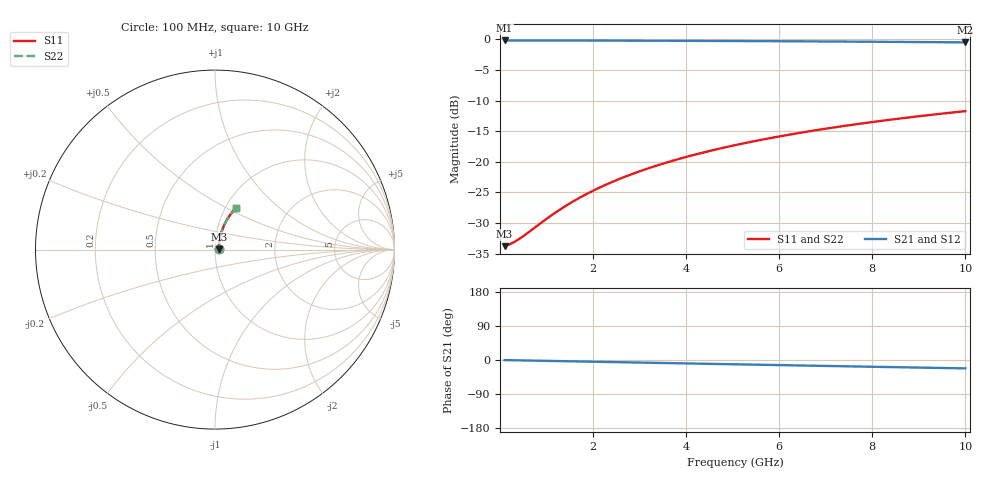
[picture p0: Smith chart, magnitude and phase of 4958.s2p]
# Hz S RI R 50.00
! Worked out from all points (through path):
!   100 points, 100 MHz to 10 GHz, reference 50 ohm
!   highest |S21| = -0.18 dB at 100 MHz (marker M1); lowest = -0.5 dB at 10 GHz (marker M2)
!   group delay of S21, straight-line fit = 6.16 ps
!   lowest |S11| = -33.8 dB at 100 MHz (marker M3), VSWR 1.04, Z = 52.1 + j0.274 ohm
!   |S11| at or under -10 dB: start of sweep to end of sweep
!   |S22| runs from -33.8 to -11.7 dB; largest |S21 - S12| = 0
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1e8  0.0203 0.00263  0.9797 -0.00387  0.9797 -0.00387  0.0203 0.00263
2e8  0.0205 0.00526  0.9795 -0.00773  0.9795 -0.00773  0.0205 0.00526
3e8  0.0206 0.00788  0.9794 -0.0116  0.9794 -0.0116  0.0206 0.00788
4e8  0.0208 0.0105  0.9792 -0.0155  0.9792 -0.0155  0.0208 0.0105
6e8  0.0211 0.0158  0.9789 -0.0232  0.9789 -0.0232  0.0211 0.0158
1e9  0.0219 0.0262  0.978 -0.0386  0.978 -0.0386  0.0219 0.0262
1.2e9  0.0225 0.0314  0.9774 -0.0463  0.9774 -0.0463  0.0225 0.0314
1.5e9  0.0234 0.0393  0.9764 -0.0578  0.9764 -0.0578  0.0234 0.0393
1.8e9  0.0245 0.047  0.9752 -0.0693  0.9752 -0.0693  0.0245 0.047
2.1e9  0.0258 0.0548  0.9739 -0.0808  0.9739 -0.0808  0.0258 0.0548
2.5e9  0.0278 0.0651  0.9717 -0.096  0.9717 -0.096  0.0278 0.0651
2.9e9  0.0301 0.0753  0.9693 -0.1111  0.9693 -0.1111  0.0301 0.0753
3.4e9  0.0334 0.0879  0.9657 -0.1299  0.9657 -0.1299  0.0334 0.0879
3.8e9  0.0363 0.0978  0.9625 -0.1448  0.9625 -0.1448  0.0363 0.0978
4.2e9  0.0396 0.1077  0.959 -0.1597  0.959 -0.1597  0.0396 0.1077
4.6e9  0.0432 0.1174  0.9551 -0.1744  0.9551 -0.1744  0.0432 0.1174
5.1e9  0.0481 0.1294  0.9499 -0.1925  0.9499 -0.1925  0.0481 0.1294
5.9e9  0.0568 0.148  0.9404 -0.2211  0.9404 -0.2211  0.0568 0.148
6.7e9  0.0666 0.166  0.9298 -0.249  0.9298 -0.249  0.0666 0.166
7.5e9  0.0774 0.1832  0.9181 -0.2762  0.9181 -0.2762  0.0774 0.1832
8.4e9  0.0907 0.2016  0.9037 -0.3059  0.9037 -0.3059  0.0907 0.2016
1e10  0.117 0.2315  0.8751 -0.3559  0.8751 -0.3559  0.117 0.2315
